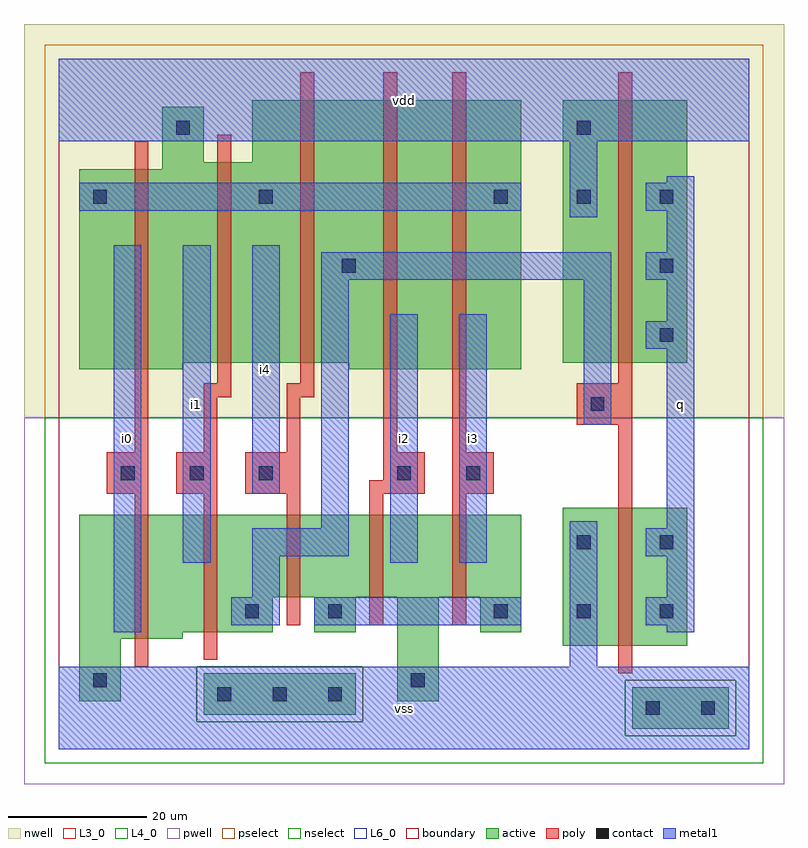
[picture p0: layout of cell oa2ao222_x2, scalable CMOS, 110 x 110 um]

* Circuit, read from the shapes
.subckt oa2ao222_x2 i0 i1 i2 i3 i4 q vdd vss
M1 n1 i0 vss vss nfet w=18u l=2u
M2 n2 i1 n1 vss nfet w=17u l=2u
M3 n3 i4 n2 vss nfet w=12u l=2u
M4 vss i2 n3 vss nfet w=12u l=2u
M5 n3 i3 vss vss nfet w=12u l=2u
M6 q n2 vss vss nfet w=20u l=2u
M7 vdd i0 n4 n5 pfet w=29u l=2u
M8 n4 i1 vdd n5 pfet w=29u l=2u
M9 n2 i4 n4 n5 pfet w=38u l=2u
M10 n6 i2 n2 n5 pfet w=39u l=2u
M11 n4 i3 n6 n5 pfet w=39u l=2u
M12 q n2 vdd n5 pfet w=38u l=2u
.ends

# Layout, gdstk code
import gdstk
lib = gdstk.Library(unit=1e-6, precision=1e-09)
def R(c, l, rs):  # rectangles x0, y0, x1, y1
    for r in rs: c.add(gdstk.rectangle(r[:2], r[2:], *l))
def A(c, l, x, y, w, h, nx, ny, dx, dy):  # array of equal rectangles
    R(c, l, [(x+i*dx, y+j*dy, x+i*dx+w, y+j*dy+h) for i in range(nx) for j in range(ny)])
L3_0 = (3, 0)
L4_0 = (4, 0)
L6_0 = (6, 0)
contact = (25, 0)
pwell = (41, 0)
nwell = (42, 0)
active = (43, 0)
pselect = (44, 0)
nselect = (45, 0)
poly = (46, 0)
metal1 = (49, 0)
boundary = (63, 0)

oa2ao222_x2 = lib.new_cell('oa2ao222_x2')
R(oa2ao222_x2, L3_0, [(3,7,9,16), (49,7,55,22), (73,15,91,35), (3,16,18,17), (3,17,31,22), (37,17,43,22), (61,17,67,22), (3,22,67,34)])
R(oa2ao222_x2, L4_0, [(3,55,18,56), (42,55,67,56), (3,56,67,84), (73,56,91,94), (15,84,67,85), (15,85,21,93), (28,85,67,94)])
R(oa2ao222_x2, L6_0, [(83,3,97,9), (21,5,43,11)])
A(oa2ao222_x2, contact, 23, 7, 2, 2, 3, 1, 8, 0)
A(oa2ao222_x2, contact, 63, 19, 2, 2, 3, 2, 12, 60)
A(oa2ao222_x2, contact, 9, 39, 2, 2, 3, 1, 10, 0)
R(oa2ao222_x2, contact, [(85,5,87,7), (93,5,95,7), (5,9,7,11), (51,9,53,11), (27,19,29,21), (39,19,41,21), (75,29,77,31), (87,29,89,31), (49,39,51,41), (59,39,61,41), (77,49,79,51), (87,59,89,61), (41,69,43,71), (87,69,89,71), (5,79,7,81), (29,79,31,81), (17,89,19,91), (75,89,77,91)])
R(oa2ao222_x2, pwell, [(-5,-5,105,48)])
R(oa2ao222_x2, nwell, [(-5,48,105,105)])
R(oa2ao222_x2, active, [(83,3,97,9), (21,5,43,11), (3,7,9,16), (49,7,55,22), (73,15,91,35), (3,16,18,17), (3,17,31,22), (37,17,43,22), (61,17,67,22), (3,22,67,34), (3,55,18,56), (42,55,67,56), (3,56,67,84), (73,56,91,94), (15,84,67,85), (15,85,21,93), (28,85,67,94)])
R(oa2ao222_x2, pselect, [(82,2,98,10), (20,4,44,12), (-2,48,102,102)])
R(oa2ao222_x2, nselect, [(-2,-2,102,2), (-2,2,82,4), (98,2,102,10), (-2,4,20,12), (44,4,82,10), (44,10,102,12), (-2,12,102,48)])
A(oa2ao222_x2, poly, 33, 18, 2, 19, 3, 1, 12, 0)
R(oa2ao222_x2, poly, [(81,11,83,47), (11,12,13,37), (21,13,23,37), (7,37,13,43), (17,37,23,43), (27,37,35,43), (45,37,53,39), (57,37,63,43), (47,39,53,43), (11,43,13,88), (21,43,23,51), (33,43,35,51), (47,43,49,98), (57,43,59,98), (75,47,83,53), (21,51,25,53), (33,51,37,53), (23,53,25,89), (35,53,37,98), (81,53,83,98)])
A(oa2ao222_x2, metal1, 85, 58, 7, 4, 1, 3, 0, 10)
R(oa2ao222_x2, metal1, [(0,0,100,12), (74,12,78,33), (8,17,12,73), (88,17,92,18), (25,18,32,22), (37,18,67,22), (85,18,92,22), (28,22,32,28), (88,22,92,28), (18,27,22,73), (48,27,52,63), (58,27,62,63), (28,28,42,32), (85,28,92,32), (38,32,42,68), (88,32,92,58), (28,37,32,73), (76,47,80,68), (88,62,92,68), (38,68,80,72), (88,72,92,78), (74,77,78,88), (3,78,67,82), (88,82,92,83), (0,88,100,100)])
R(oa2ao222_x2, boundary, [(0,0,100,100)])
oa2ao222_x2.add(gdstk.Label('i0', (10,45), layer=49, texttype=0))
oa2ao222_x2.add(gdstk.Label('i1', (20,50), layer=49, texttype=0))
oa2ao222_x2.add(gdstk.Label('i4', (30,55), layer=49, texttype=0))
oa2ao222_x2.add(gdstk.Label('vss', (50,6), layer=49, texttype=0))
oa2ao222_x2.add(gdstk.Label('i2', (50,45), layer=49, texttype=0))
oa2ao222_x2.add(gdstk.Label('i3', (60,45), layer=49, texttype=0))
oa2ao222_x2.add(gdstk.Label('vdd', (50,94), layer=49, texttype=0))
oa2ao222_x2.add(gdstk.Label('q', (90,50), layer=49, texttype=0))

lib.write_gds('oa2ao222_x2.gds')
